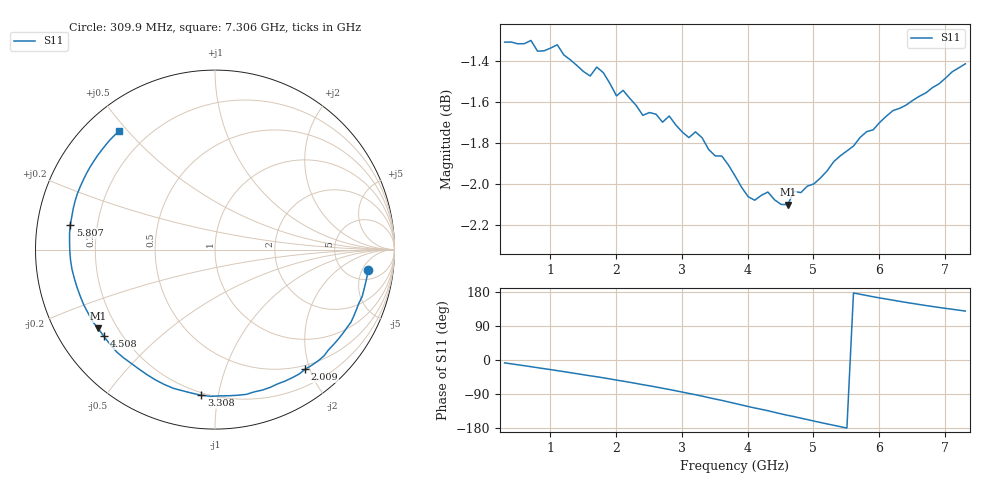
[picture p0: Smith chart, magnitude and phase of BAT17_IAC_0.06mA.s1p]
! Infineon Technologies  Discrete & RF Semiconductors
! BAT17
! IAC = 0.06 mA
! One-Port S-Parameters
# Hz  S  MA  R  50
!f  S11
!Hz  Mag  Ang
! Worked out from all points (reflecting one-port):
!   71 points, 309.9 MHz to 7.306 GHz, reference 50 ohm
!   lowest |S11| = -2.1 dB at 4.608 GHz (marker M1), VSWR 8.31, Z = 6.56 - j15 ohm
!   phase of S11 starts at -8 deg and turns -223 deg over the sweep
!   S11 on the Smith chart (normalised r, x): 309.9 MHz: 7.46, -6.56; 2.009 GHz: 0.44, -1.93; 3.308 GHz: 0.18, -0.89; 4.508 GHz: 0.13, -0.34; 5.807 GHz: 0.10, +0.08; 7.306 GHz: 0.10, +0.47
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3.0985e8  0.86 -7.6
7.0965e8  0.8609 -17.7
1.10945e9  0.8588 -28.1
1.2094e9  0.8539 -30.7
1.70915e9  0.8481 -44.2
2.009e9  0.8346 -53.0
2.10895e9  0.8372 -55.8
2.6087e9  0.8261 -71.3
2.8086e9  0.8252 -77.8
3.0085e9  0.8178 -84.7
3.30835e9  0.8152 -95.3
3.6082e9  0.8069 -106.6
3.8081e9  0.7981 -114.6
4.008e9  0.7888 -122.8
4.30785e9  0.7908 -133.8
4.50775e9  0.7854 -142.1
4.6077e9  0.7853 -146.1
4.70765e9  0.7911 -149.5
4.90755e9  0.7935 -157.2
5.2074e9  0.8003 -168.7
5.4073e9  0.807 -175.9
5.6072e9  0.8115 176.9
5.8071e9  0.818 170.3
5.90705e9  0.8189 166.8
6.2069e9  0.8277 157.9
6.50675e9  0.8325 149.1
6.90655e9  0.8402 138.7
7.30635e9  0.8497 129.1
